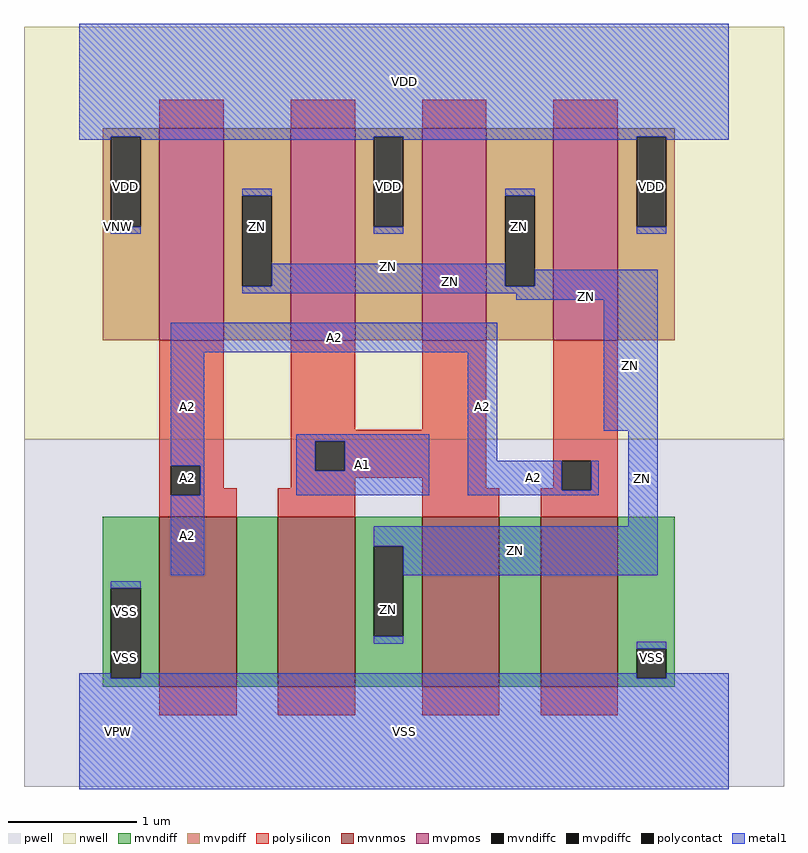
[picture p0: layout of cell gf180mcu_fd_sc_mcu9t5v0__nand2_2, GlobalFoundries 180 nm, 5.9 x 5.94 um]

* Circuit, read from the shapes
.subckt gf180mcu_fd_sc_mcu9t5v0__nand2_2 A1 A2 ZN VDD VNW VPW VSS
XM1 n1 A2 VSS VPW nfet_06v0 w=1.32u l=0.6u
XM2 ZN A1 n1 VPW nfet_06v0 w=1.32u l=0.6u
XM3 n2 A1 ZN VPW nfet_06v0 w=1.32u l=0.6u
XM4 VSS A2 n2 VPW nfet_06v0 w=1.32u l=0.6u
XM5 ZN A2 VDD VNW pfet_06v0 w=1.645u l=0.5u m=2
XM6 VDD A1 ZN VNW pfet_06v0 w=1.645u l=0.5u m=2
.ends

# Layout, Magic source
magic
tech gf180mcuD
magscale 1 10
<< nwell >>
rect -86 453 1094 1094
<< pwell >>
rect -86 -86 1094 453
<< mvnmos >>
rect 124 69 244 333
rect 308 69 428 333
rect 532 69 652 333
rect 716 69 836 333
<< mvpmos >>
rect 124 607 224 936
rect 328 607 428 936
rect 532 607 632 936
rect 736 607 836 936
<< mvndiff >>
rect 36 222 124 333
rect 36 82 49 222
rect 95 82 124 222
rect 36 69 124 82
rect 244 69 308 333
rect 428 287 532 333
rect 428 147 457 287
rect 503 147 532 287
rect 428 69 532 147
rect 652 69 716 333
rect 836 128 924 333
rect 836 82 865 128
rect 911 82 924 128
rect 836 69 924 82
<< mvpdiff >>
rect 36 923 124 936
rect 36 783 49 923
rect 95 783 124 923
rect 36 607 124 783
rect 224 831 328 936
rect 224 691 253 831
rect 299 691 328 831
rect 224 607 328 691
rect 428 923 532 936
rect 428 783 457 923
rect 503 783 532 923
rect 428 607 532 783
rect 632 831 736 936
rect 632 691 661 831
rect 707 691 736 831
rect 632 607 736 691
rect 836 923 924 936
rect 836 783 865 923
rect 911 783 924 923
rect 836 607 924 783
<< mvndiffc >>
rect 49 82 95 222
rect 457 147 503 287
rect 865 82 911 128
<< mvpdiffc >>
rect 49 783 95 923
rect 253 691 299 831
rect 457 783 503 923
rect 661 691 707 831
rect 865 783 911 923
<< polysilicon >>
rect 124 936 224 980
rect 328 936 428 980
rect 532 936 632 980
rect 736 936 836 980
rect 124 412 224 607
rect 124 366 142 412
rect 188 377 224 412
rect 328 468 428 607
rect 532 468 632 607
rect 328 450 632 468
rect 328 404 366 450
rect 412 404 632 450
rect 328 393 632 404
rect 328 377 428 393
rect 188 366 244 377
rect 124 333 244 366
rect 308 333 428 377
rect 532 377 632 393
rect 736 420 836 607
rect 736 377 749 420
rect 532 333 652 377
rect 716 374 749 377
rect 795 374 836 420
rect 716 333 836 374
rect 124 25 244 69
rect 308 25 428 69
rect 532 25 652 69
rect 716 25 836 69
<< polycontact >>
rect 142 366 188 412
rect 366 404 412 450
rect 749 374 795 420
<< metal1 >>
rect 0 923 1008 1098
rect 0 918 49 923
rect 95 918 457 923
rect 49 772 95 783
rect 253 831 299 842
rect 503 918 865 923
rect 457 772 503 783
rect 661 831 707 842
rect 299 691 661 726
rect 911 918 1008 923
rect 865 772 911 783
rect 707 691 898 716
rect 253 680 898 691
rect 678 670 898 680
rect 142 588 649 634
rect 142 412 194 588
rect 188 366 194 412
rect 337 450 543 461
rect 337 404 366 450
rect 412 404 543 450
rect 337 366 543 404
rect 603 420 649 588
rect 814 466 898 670
rect 603 374 749 420
rect 795 374 806 420
rect 603 366 806 374
rect 142 242 194 366
rect 852 318 898 466
rect 457 287 898 318
rect 49 222 95 233
rect 0 82 49 90
rect 503 242 898 287
rect 457 136 503 147
rect 865 128 911 139
rect 95 82 865 90
rect 911 82 1008 90
rect 0 -90 1008 82
<< labels >>
flabel metal1 s 337 366 543 461 0 FreeSans 200 0 0 0 A1
port 1 nsew default input
flabel metal1 s 142 588 649 634 0 FreeSans 200 0 0 0 A2
port 2 nsew default input
flabel metal1 s 0 918 1008 1098 0 FreeSans 200 0 0 0 VDD
port 4 nsew power bidirectional abutment
flabel metal1 s 49 139 95 233 0 FreeSans 200 0 0 0 VSS
port 7 nsew ground bidirectional abutment
flabel metal1 s 661 726 707 842 0 FreeSans 200 0 0 0 ZN
port 3 nsew default output
flabel nwell s 10 734 110 834 0 FreeSans 400 0 0 0 VNW
port 5 nsew power bidirectional
flabel pwell s 10 -50 110 50 0 FreeSans 400 0 0 0 VPW
port 6 nsew ground bidirectional
rlabel metal1 s 603 420 649 588 1 A2
port 2 nsew default input
rlabel metal1 s 142 420 194 588 1 A2
port 2 nsew default input
rlabel metal1 s 603 366 806 420 1 A2
port 2 nsew default input
rlabel metal1 s 142 366 194 420 1 A2
port 2 nsew default input
rlabel metal1 s 142 242 194 366 1 A2
port 2 nsew default input
rlabel metal1 s 253 726 299 842 1 ZN
port 3 nsew default output
rlabel metal1 s 253 716 707 726 1 ZN
port 3 nsew default output
rlabel metal1 s 253 680 898 716 1 ZN
port 3 nsew default output
rlabel metal1 s 678 670 898 680 1 ZN
port 3 nsew default output
rlabel metal1 s 814 466 898 670 1 ZN
port 3 nsew default output
rlabel metal1 s 852 318 898 466 1 ZN
port 3 nsew default output
rlabel metal1 s 457 242 898 318 1 ZN
port 3 nsew default output
rlabel metal1 s 457 136 503 242 1 ZN
port 3 nsew default output
rlabel metal1 s 865 772 911 918 1 VDD
port 4 nsew power bidirectional abutment
rlabel metal1 s 457 772 503 918 1 VDD
port 4 nsew power bidirectional abutment
rlabel metal1 s 49 772 95 918 1 VDD
port 4 nsew power bidirectional abutment
rlabel metal1 s 865 90 911 139 1 VSS
port 7 nsew ground bidirectional abutment
rlabel metal1 s 49 90 95 139 1 VSS
port 7 nsew ground bidirectional abutment
rlabel metal1 s 0 -90 1008 90 1 VSS
port 7 nsew ground bidirectional abutment
<< properties >>
string FIXED_BBOX 0 0 1008 1008
string GDS_END 39568
string GDS_FILE $PDKPATH/libs.ref/gf180mcu_fd_sc_mcu9t5v0/gds/gf180mcu_fd_sc_mcu9t5v0.gds
string GDS_START 36092
string LEFclass core
string LEFsite GF018hv5v_green_sc9
string LEFsymmetry X Y
<< end >>
